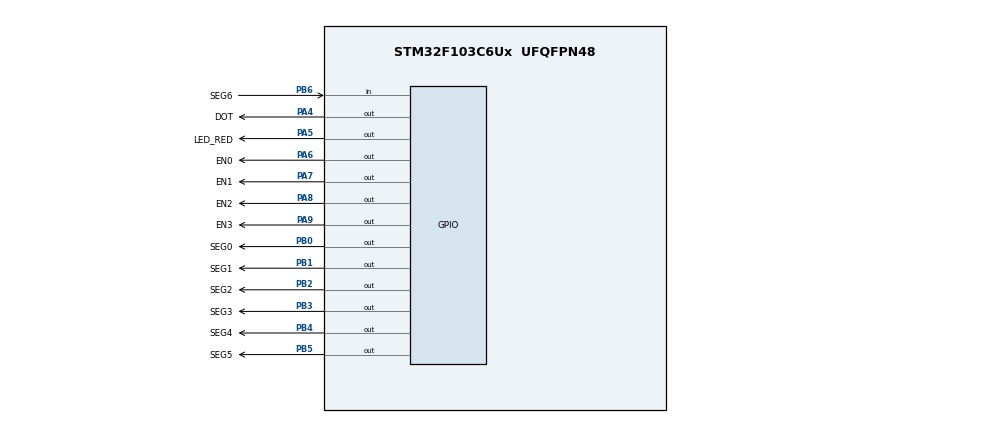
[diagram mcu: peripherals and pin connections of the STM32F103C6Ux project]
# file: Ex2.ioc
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Mcu.Family=STM32F1
Mcu.Name=STM32F103C6Ux
Mcu.Package=UFQFPN48
NVIC.PriorityGroup=NVIC_PRIORITYGROUP_4
NVIC.TIM2_IRQn=true\:0\:0\:false\:false\:true\:true\:true
PA4.GPIO_Label=DOT
PA4.Signal=GPIO_Output
PA5.GPIO_Label=LED_RED
PA5.Signal=GPIO_Output
PA6.GPIO_Label=EN0
PA6.Signal=GPIO_Output
PA7.GPIO_Label=EN1
PA7.Signal=GPIO_Output
PA8.GPIO_Label=EN2
PA8.Signal=GPIO_Output
PA9.GPIO_Label=EN3
PA9.Signal=GPIO_Output
PB0.GPIO_Label=SEG0
PB0.Signal=GPIO_Output
PB1.GPIO_Label=SEG1
PB1.Signal=GPIO_Output
PB2.GPIO_Label=SEG2
PB2.Signal=GPIO_Output
PB3.GPIO_Label=SEG3
PB3.Signal=GPIO_Output
PB4.GPIO_Label=SEG4
PB4.Signal=GPIO_Output
PB5.GPIO_Label=SEG5
PB5.Signal=GPIO_Output
PB6.GPIO_Label=SEG6
PB6.Signal=GPIO_Input
ProjectManager.HeapSize=0x200
ProjectManager.StackSize=0x400
ProjectManager.TargetToolchain=STM32CubeIDE
RCC.APB1Freq_Value=8000000
RCC.APB2Freq_Value=8000000
TIM2.Period=9
TIM2.Prescaler=7999
VP_SYS_VS_ND.Mode=No_Debug
VP_TIM2_VS_ClockSourceINT.Mode=Internal
board=custom

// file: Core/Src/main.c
/* USER CODE BEGIN Header */
/**
  ******************************************************************************
  * @file           : main.c
  * @brief          : Main program body
  ******************************************************************************
  * @attention
  *
  * <h2><center>&copy; Copyright (c) 2025 STMicroelectronics.
  * All rights reserved.</center></h2>
  *
  * This software component is licensed by ST under BSD 3-Clause license,
  * the "License"; You may not use this file except in compliance with the
  * License. You may obtain a copy of the License at:
  *                        opensource.org/licenses/BSD-3-Clause
  *
  ******************************************************************************
  */
/* USER CODE END Header */
#include "main.h"

TIM_HandleTypeDef htim2;
int digitSegment[10][7] = {
		{0,0,0,0,0,0,1}, //0
		{1,0,0,1,1,1,1}, //1
		{0,0,1,0,0,1,0}, //2
		{0,0,0,0,1,1,0}, //3
		{1,0,0,1,1,0,0}, //4
		{0,1,0,0,1,0,0}, //5
		{0,1,0,0,0,0,0}, //6
		{0,0,0,1,1,1,1}, //7
		{0,0,0,0,0,0,0}, //8
		{0,0,0,0,1,0,0} //9
};

void SystemClock_Config(void);
static void MX_GPIO_Init(void);
static void MX_TIM2_Init(void);
void display7SEG(int);

int main(void)
{

  /* MCU Configuration--------------------------------------------------------*/

  /* Reset of all peripherals, Initializes the Flash interface and the Systick. */
  HAL_Init();

  /* Configure the system clock */
  SystemClock_Config();

  /* Initialize all configured peripherals */
  MX_GPIO_Init();
  MX_TIM2_Init();
  /* USER CODE BEGIN 2 */
  HAL_TIM_Base_Start_IT(&htim2);
  /* USER CODE END 2 */
  HAL_GPIO_WritePin(EN0_GPIO_Port, EN0_Pin, 1);
  HAL_GPIO_WritePin(EN1_GPIO_Port, EN1_Pin, 1);
  HAL_GPIO_WritePin(EN2_GPIO_Port, EN2_Pin, 0);
  HAL_GPIO_WritePin(EN3_GPIO_Port, EN3_Pin, 1);

  /* Infinite loop */
  while (1)
  {

  }
}

void SystemClock_Config(void)
{
  RCC_OscInitTypeDef RCC_OscInitStruct = {0};
  RCC_ClkInitTypeDef RCC_ClkInitStruct = {0};

  /** Initializes the RCC Oscillators according to the specified parameters
  * in the RCC_OscInitTypeDef structure.
  */
  RCC_OscInitStruct.OscillatorType = RCC_OSCILLATORTYPE_HSI;
  RCC_OscInitStruct.HSIState = RCC_HSI_ON;
  RCC_OscInitStruct.HSICalibrationValue = RCC_HSICALIBRATION_DEFAULT;
  RCC_OscInitStruct.PLL.PLLState = RCC_PLL_NONE;
  if (HAL_RCC_OscConfig(&RCC_OscInitStruct) != HAL_OK)
  {
    Error_Handler();
  }
  /** Initializes the CPU, AHB and APB buses clocks
  */
  RCC_ClkInitStruct.ClockType = RCC_CLOCKTYPE_HCLK|RCC_CLOCKTYPE_SYSCLK
                              |RCC_CLOCKTYPE_PCLK1|RCC_CLOCKTYPE_PCLK2;
  RCC_ClkInitStruct.SYSCLKSource = RCC_SYSCLKSOURCE_HSI;
  RCC_ClkInitStruct.AHBCLKDivider = RCC_SYSCLK_DIV1;
  RCC_ClkInitStruct.APB1CLKDivider = RCC_HCLK_DIV1;
  RCC_ClkInitStruct.APB2CLKDivider = RCC_HCLK_DIV1;

  if (HAL_RCC_ClockConfig(&RCC_ClkInitStruct, FLASH_LATENCY_0) != HAL_OK)
  {
    Error_Handler();
  }
}

static void MX_TIM2_Init(void)
{

  TIM_ClockConfigTypeDef sClockSourceConfig = {0};
  TIM_MasterConfigTypeDef sMasterConfig = {0};

  htim2.Instance = TIM2;
  htim2.Init.Prescaler = 7999;
  htim2.Init.CounterMode = TIM_COUNTERMODE_UP;
  htim2.Init.Period = 9;
  htim2.Init.ClockDivision = TIM_CLOCKDIVISION_DIV1;
  htim2.Init.AutoReloadPreload = TIM_AUTORELOAD_PRELOAD_DISABLE;
  if (HAL_TIM_Base_Init(&htim2) != HAL_OK)
  {
    Error_Handler();
  }
  sClockSourceConfig.ClockSource = TIM_CLOCKSOURCE_INTERNAL;
  if (HAL_TIM_ConfigClockSource(&htim2, &sClockSourceConfig) != HAL_OK)
  {
    Error_Handler();
  }
  sMasterConfig.MasterOutputTrigger = TIM_TRGO_RESET;
  sMasterConfig.MasterSlaveMode = TIM_MASTERSLAVEMODE_DISABLE;
  if (HAL_TIMEx_MasterConfigSynchronization(&htim2, &sMasterConfig) != HAL_OK)
  {
    Error_Handler();
  }

}

static void MX_GPIO_Init(void)
{
  GPIO_InitTypeDef GPIO_InitStruct = {0};

  /* GPIO Ports Clock Enable */
  __HAL_RCC_GPIOA_CLK_ENABLE();
  __HAL_RCC_GPIOB_CLK_ENABLE();

  /*Configure GPIO pin Output Level */
  HAL_GPIO_WritePin(GPIOA, LED_RED_Pin|EN0_Pin|EN1_Pin|EN2_Pin|EN3_Pin|DOT_Pin, GPIO_PIN_RESET);

  /*Configure GPIO pin Output Level */
  HAL_GPIO_WritePin(GPIOB, SEG0_Pin|SEG1_Pin|SEG2_Pin|SEG3_Pin
                          |SEG4_Pin|SEG5_Pin|SEG6_Pin, GPIO_PIN_RESET);

  /*Configure GPIO pins : LED_RED_Pin EN0_Pin EN1_Pin */
  GPIO_InitStruct.Pin = LED_RED_Pin|EN0_Pin|EN1_Pin|EN2_Pin|EN3_Pin|DOT_Pin;
  GPIO_InitStruct.Mode = GPIO_MODE_OUTPUT_PP;
  GPIO_InitStruct.Pull = GPIO_NOPULL;
  GPIO_InitStruct.Speed = GPIO_SPEED_FREQ_LOW;
  HAL_GPIO_Init(GPIOA, &GPIO_InitStruct);

  /*Configure GPIO pins : SEG0_Pin SEG1_Pin SEG2_Pin SEG3_Pin
                           SEG4_Pin SEG5_Pin SEG6_Pin */
  GPIO_InitStruct.Pin = SEG0_Pin|SEG1_Pin|SEG2_Pin|SEG3_Pin
                          |SEG4_Pin|SEG5_Pin|SEG6_Pin;
  GPIO_InitStruct.Mode = GPIO_MODE_OUTPUT_PP;
  GPIO_InitStruct.Pull = GPIO_NOPULL;
  GPIO_InitStruct.Speed = GPIO_SPEED_FREQ_LOW;
  HAL_GPIO_Init(GPIOB, &GPIO_InitStruct);

}

/* USER CODE BEGIN 4 */
int counter = 100;
void HAL_TIM_PeriodElapsedCallback(TIM_HandleTypeDef *htim) {
	counter--;
	if (counter == 50) {
		display7SEG(0);
		HAL_GPIO_TogglePin(EN2_GPIO_Port, EN2_Pin);
		HAL_GPIO_TogglePin(EN3_GPIO_Port, EN3_Pin);
	}
	if (counter <= 0) {
		counter = 100;
		display7SEG(3);
		HAL_GPIO_TogglePin(EN2_GPIO_Port, EN2_Pin);
		HAL_GPIO_TogglePin(EN3_GPIO_Port, EN3_Pin);

		HAL_GPIO_TogglePin(DOT_GPIO_Port, DOT_Pin);

		HAL_GPIO_TogglePin(LED_RED_GPIO_Port, LED_RED_Pin);
	}

}

void display7SEG(int num) {
	HAL_GPIO_WritePin(SEG0_GPIO_Port, SEG0_Pin, digitSegment[num][0]);
	HAL_GPIO_WritePin(SEG1_GPIO_Port, SEG1_Pin, digitSegment[num][1]);
	HAL_GPIO_WritePin(SEG2_GPIO_Port, SEG2_Pin, digitSegment[num][2]);
	HAL_GPIO_WritePin(SEG3_GPIO_Port, SEG3_Pin, digitSegment[num][3]);
	HAL_GPIO_WritePin(SEG4_GPIO_Port, SEG4_Pin, digitSegment[num][4]);
	HAL_GPIO_WritePin(SEG5_GPIO_Port, SEG5_Pin, digitSegment[num][5]);
	HAL_GPIO_WritePin(SEG6_GPIO_Port, SEG6_Pin, digitSegment[num][6]);
}
/* USER CODE END 4 */

void Error_Handler(void)
{
  __disable_irq();
  while (1)
  {
  }
}

/************************ (C) COPYRIGHT STMicroelectronics *****END OF FILE****/
